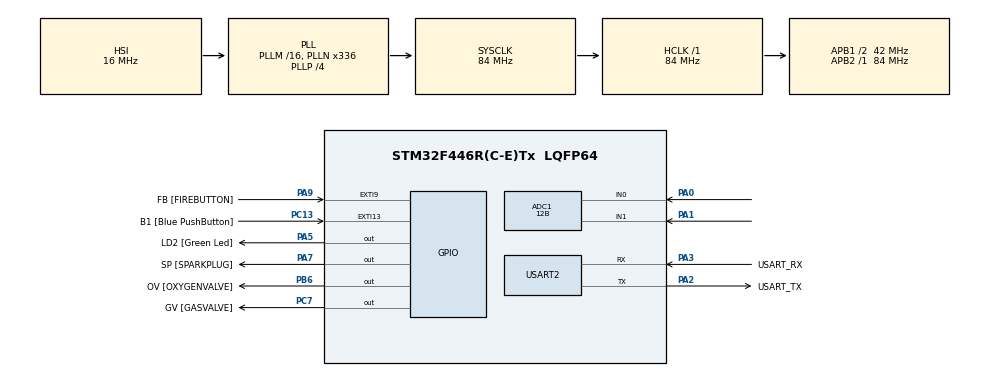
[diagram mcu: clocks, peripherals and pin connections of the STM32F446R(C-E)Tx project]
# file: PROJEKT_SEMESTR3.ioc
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ADC1.Channel-0\#ChannelRegularConversion=ADC_CHANNEL_0
ADC1.Channel-1\#ChannelRegularConversion=ADC_CHANNEL_1
ADC1.ClockPrescaler=ADC_CLOCK_SYNC_PCLK_DIV8
ADC1.ContinuousConvMode=ENABLE
ADC1.DMAContinuousRequests=ENABLE
ADC1.NbrOfConversion=2
ADC1.NbrOfConversionFlag=1
ADC1.Rank-0\#ChannelRegularConversion=1
ADC1.Rank-1\#ChannelRegularConversion=2
ADC1.Resolution=ADC_RESOLUTION_12B
ADC1.SamplingTime-0\#ChannelRegularConversion=ADC_SAMPLETIME_480CYCLES
ADC1.SamplingTime-1\#ChannelRegularConversion=ADC_SAMPLETIME_480CYCLES
ADC1.ScanConvMode=ENABLE
ADC1.master=1
Dma.ADC1.0.Direction=DMA_PERIPH_TO_MEMORY
Dma.ADC1.0.FIFOMode=DMA_FIFOMODE_DISABLE
Dma.ADC1.0.Instance=DMA2_Stream0
Dma.ADC1.0.MemDataAlignment=DMA_MDATAALIGN_HALFWORD
Dma.ADC1.0.MemInc=DMA_MINC_ENABLE
Dma.ADC1.0.Mode=DMA_CIRCULAR
Dma.ADC1.0.PeriphDataAlignment=DMA_PDATAALIGN_HALFWORD
Dma.ADC1.0.PeriphInc=DMA_PINC_DISABLE
Dma.ADC1.0.Priority=DMA_PRIORITY_LOW
Dma.Request0=ADC1
Mcu.Family=STM32F4
Mcu.Name=STM32F446R(C-E)Tx
Mcu.Package=LQFP64
NVIC.ADC_IRQn=true\:0\:1\:false\:false\:true\:true\:true\:true
NVIC.DMA2_Stream0_IRQn=true\:0\:1\:false\:false\:true\:false\:true\:true
NVIC.EXTI15_10_IRQn=true\:0\:1\:false\:false\:true\:true\:true\:true
NVIC.EXTI9_5_IRQn=true\:0\:1\:false\:false\:true\:true\:true\:true
NVIC.PriorityGroup=NVIC_PRIORITYGROUP_0
NVIC.USART2_IRQn=true\:0\:1\:false\:false\:true\:true\:true\:true
PA0-WKUP.Signal=ADCx_IN0
PA1.Signal=ADCx_IN1
PA13.GPIO_Label=TMS
PA13.Mode=Serial_Wire
PA13.Signal=SYS_JTMS-SWDIO
PA14.GPIO_Label=TCK
PA14.Mode=Serial_Wire
PA14.Signal=SYS_JTCK-SWCLK
PA2.GPIO_Label=USART_TX
PA2.Mode=Asynchronous
PA2.Signal=USART2_TX
PA3.GPIO_Label=USART_RX
PA3.Mode=Asynchronous
PA3.Signal=USART2_RX
PA5.GPIO_Label=LD2 [Green Led]
PA5.Signal=GPIO_Output
PA7.GPIO_Label=SP [SPARKPLUG]
PA7.Signal=GPIO_Output
PA9.GPIO_Label=FB [FIREBUTTON]
PA9.GPIO_ModeDefaultEXTI=GPIO_MODE_IT_RISING
PA9.GPIO_PuPd=GPIO_PULLDOWN
PA9.Signal=GPXTI9
PB3.GPIO_Label=SWO
PB3.Signal=SYS_JTDO-SWO
PB6.GPIO_Label=OV [OXYGENVALVE]
PB6.Signal=GPIO_Output
PC13.GPIO_Label=B1 [Blue PushButton]
PC13.GPIO_ModeDefaultEXTI=GPIO_MODE_IT_FALLING
PC13.Signal=GPXTI13
PC14-OSC32_IN.Mode=LSE-External-Oscillator
PC14-OSC32_IN.Signal=RCC_OSC32_IN
PC15-OSC32_OUT.Mode=LSE-External-Oscillator
PC15-OSC32_OUT.Signal=RCC_OSC32_OUT
PC7.GPIO_Label=GV [GASVALVE]
PC7.Signal=GPIO_Output
PH0-OSC_IN.Mode=HSE-External-Oscillator
PH0-OSC_IN.Signal=RCC_OSC_IN
PH1-OSC_OUT.Mode=HSE-External-Oscillator
PH1-OSC_OUT.Signal=RCC_OSC_OUT
ProjectManager.HeapSize=0x200
ProjectManager.StackSize=0x400
ProjectManager.TargetToolchain=STM32CubeIDE
RCC.48MHZClocksFreq_Value=84000000
RCC.AHBFreq_Value=84000000
RCC.APB1CLKDivider=RCC_HCLK_DIV2
RCC.APB1Freq_Value=42000000
RCC.APB1TimFreq_Value=84000000
RCC.APB2Freq_Value=84000000
RCC.APB2TimFreq_Value=84000000
RCC.CortexFreq_Value=84000000
RCC.FLatency-AdvancedSettings=FLASH_LATENCY_2
RCC.HCLKFreq_Value=84000000
RCC.HSE_VALUE=8000000
RCC.HSI_VALUE=16000000
RCC.PLLN=336
RCC.PLLP=RCC_PLLP_DIV4
RCC.SYSCLKFreq_VALUE=84000000
RCC.SYSCLKSource=RCC_SYSCLKSOURCE_PLLCLK
RCC.USBFreq_Value=168000000
RCC.VCOOutputFreq_Value=336000000
SH.ADCx_IN0.0=ADC1_IN0,IN0
SH.ADCx_IN1.0=ADC1_IN1,IN1
USART2.VirtualMode=VM_ASYNC
board=NUCLEO-F446RE

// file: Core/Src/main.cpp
/* USER CODE BEGIN Header */
/**
  ******************************************************************************
  * @file           : main.c
  * @brief          : Main program body
  ******************************************************************************
  * @attention
  *
  * Copyright (c) 2024 STMicroelectronics.
  * All rights reserved.
  *
  * This software is licensed under terms that can be found in the LICENSE file
  * in the root directory of this software component.
  * If no LICENSE file comes with this software, it is provided AS-IS.
  *
  ******************************************************************************
  */
/* USER CODE END Header */
#include "main.h"

ADC_HandleTypeDef hadc1;
DMA_HandleTypeDef hdma_adc1;

UART_HandleTypeDef huart2;

void SystemClock_Config(void);
static void MX_GPIO_Init(void);
static void MX_DMA_Init(void);
static void MX_USART2_UART_Init(void);
static void MX_ADC1_Init(void);
/* USER CODE BEGIN PFP */
float channel1avg();
float channel1mean();
float channel2avg();
float channel2mean();
/* USER CODE END PFP */

/* USER CODE BEGIN 0 */
//TODO:początek kodu
//rozmiar bufora ADC
#define ADC_DMABUFFERSIZE 512
//definicje wartości zmiennych systemu gazowego
#define DELTIME 100
#define MULTIPL 5
#define BEWTIME 80
#define GVOTIME 50
#define SPTTIME 50
#include <string>
#include <algorithm>
enum Written {
  None,
  Char
};
uint16_t endcharcounter=0;
template <std::size_t maxSize>
class CircularBuffer {
  uint8_t buffer[maxSize];
  std::size_t head = 0;
  std::size_t tail = 0;
  Written writeFlag = None;
public:
  bool has(uint8_t item) {
    for (std::size_t i = 0; i < size(); ++i) {
      std::size_t inx = (head + i) % maxSize;
      if (buffer[inx] == item) return true;
    }
    return false;
  }
  bool written() {
    return writeFlag;
  }
  std::string read() {
	std::string a;
    switch (writeFlag) {
      case None:
        break;
      case Char:
        a.push_back(buffer[(tail - 1) % maxSize]);
        break;
    }
    writeFlag = None;
    return a;
  }
  void push(uint8_t item) {
    if (tail == (head - 1) % maxSize) return;
    buffer[tail] = item;
    //if(item=='|')endcharcounter++;
    volatile std::size_t temp = (tail + 1) % maxSize;
    tail = temp;
    writeFlag = Char;
  }
  void push(std::string a) {
    for (uint8_t c : a) {
      push(c);
    }
  }
  uint8_t pop() {
	if (empty()) return 0;
    uint8_t item = buffer[head];
    buffer[head] = 0;
    volatile std::size_t temp = (head + 1) % maxSize;
    head = temp;
    return item;
  }
  std::string popUntilExcl(uint8_t guard) {
      std::string ret;
      while (!empty()) {
        uint8_t a = pop();
        ret.push_back(a);
        if (a == guard) {
      	  break;}
      }
      return ret;
    }
  std::string popUntilIncl(uint8_t guard) {
    std::string ret;
    while (!empty()) {
      uint8_t a = pop();
      ret.push_back(a);
      if (a == guard) {
    	  ret.push_back(a);
    	  break;}
    }
    return ret;
  }
  bool empty() {
    return head == tail;
  }
  std::size_t size() {
    if (tail >= head) return tail - head;
    return maxSize - head - tail;
  }
  uint32_t capacity(void) {
      return maxSize;
    }
};
uint8_t itemRx;
CircularBuffer<4096> rx;
uint8_t itemTx;
CircularBuffer<4096> tx;
void USART_send(std::string a) {
  //tx.push(a);
	if(tx.size()+a.length()>tx.capacity())return;
  for(uint8_t charr:a)tx.push(charr);//dodaj do bufora znaki ze stringa
  __disable_irq();//zatrzymaj przerwania w celu nieprzerwanej transmisji
  if (__HAL_UART_GET_FLAG(&huart2, UART_FLAG_TXE) != RESET) {//sprawdzanie czy linia jest obecnie wykorzystywana
    itemTx= tx.pop();//zczytaj znak na końcu
    HAL_UART_Transmit_IT(&huart2, &itemTx, 1);//prześlij pierwszy znak z
  }
  __enable_irq();//wznów przerwania
}
void HAL_UART_TxCpltCallback(UART_HandleTypeDef *huart) {
	if (!(huart == &huart2)) return;//jeżeli odpowiedni interfejs
	if (tx.empty()) return;//jeżeli nie koniec buforu
	itemTx = tx.pop();//zczytaj znak na końcu
	HAL_UART_Transmit_IT(&huart2, &itemTx, 1);//prześlij

}
void HAL_UART_RxCpltCallback(UART_HandleTypeDef *huart) {
	if (!(huart == &huart2)) return;
	rx.push(itemRx);
	//if(itemRx=='|')endcharcounter++;
	HAL_UART_Receive_IT(&huart2, &itemRx, 1);
}

//----------------------------//
//POWYŻEJ UART, PONIŻEJ RAMKA
//----------------------------//todo:
void replaceAll(std::string& str, const std::string& from, const std::string& to) {
    size_t start_pos = 0;
    while ((start_pos = str.find(from, start_pos)) != std::string::npos) {
        str.replace(start_pos, from.length(), to);
        start_pos += to.length();
    }
}
void trimStartEndCharacters(std::string& str, char startChar, char endChar) {

    // przycinanie do pierwszej instancji znaku
    size_t startPos = str.find_first_not_of(startChar);
    if (startPos != std::string::npos) {
        str.erase(0, startPos-1);
    }

    // ucinanie do jakiegoś znaku
    size_t endPos = str.find_last_not_of(endChar);
    if (endPos != std::string::npos) {
        str.erase(endPos + 2);
    }
}

uint16_t calculateCRC16(const std::string& data) {
    const uint16_t polynomial = 0x8005; //  wielomian
    uint16_t crc = 0xFFFF; // wstepna wartość dla crc

    for (char c : data) {//dla każdego znaku w stringu
        crc ^= static_cast<uint16_t>(c) << 8;//XOR obecnego CRC z przesuniętym w lewo o 8 bit obecnym znakiem

        for (int i = 0; i < 8; ++i) {//dla nowego bitu w nowym bajcie po kolei:
            if (crc & 0x8000) {//jeżeli najważniejszy bit po lewej stronie
                crc = (crc << 1) ^ polynomial;//leftshift o 1 i xor z wielomianem
            } else {//jeżeli najważniejszy bit to 0
                crc <<= 1;//bitshift w lewo o 1
            }
        }
    }
    //USART_send("DEBUG:Calculated checksum: "+std::to_string(crc)+"\r\n");

    return crc;
}
std::string reconstructdata(std::string data){
	std::string unescapedData;
	//przejście przez dane przekazane
	  for (size_t i = 0; i < data.length(); ++i) {
	        // sprawdzanie czy jest znak escape
	        if (data[i] == '\\' && i + 1 < data.length()) {
	            // zamiana w wyniku escape
	            switch (data[i + 1]) {
	                case ':':
	                    unescapedData.push_back('^');
	                    break;
	                case ';':
	                    unescapedData.push_back('|');
	                    break;
	                case '@':
	                    unescapedData.push_back('\\');
	                    break;
	                default:
	                    // Handle other cases as needed
	                    break;
	            }
	            // Skip the next character as it was part of the escape sequence
	            ++i;
	        } else {
	            // Regular character, add to the unescaped data
	            unescapedData.push_back(data[i]);
	        }
	    }
	  	  //zwrócenie buforu string tymczasowego
	    return unescapedData;
}
std::string escapeCharacters(const std::string& data) {
    std::string escapedData = data;//zamiana znaków
    replaceAll(escapedData, "\\", "\\@");
    replaceAll(escapedData, "|", "\\;");
    replaceAll(escapedData, "^", "\\:");
    return escapedData;
}
//generowanie ramki odpowiedzi
void respondframe(std::string response){
	std::string escapedresponse=escapeCharacters(response);//zamiana znaków
	char rspchksmbuf[5],rpslenbuf[3];//temp tablice znaków
	uint8_t resplen=static_cast<uint8_t>(escapedresponse.length()-1);//obliczanie długości
	std::snprintf(rpslenbuf,3,"%02d",resplen);//formatowanie długości
	uint16_t respchecksum=calculateCRC16("n"+escapedresponse);//checksuma
	std::snprintf(rspchksmbuf,5,"%04X",respchecksum);//formatowanie checksumy
	std::string outputresponse="^"+(std::string)rpslenbuf+"n"+escapedresponse+(std::string)rspchksmbuf+"|\r\n";//składanie całości
	USART_send(outputresponse);
}
//ZMIENNE CZASOWE SYSTEMU GAZOWO-STRZELAJĄCEGO ORAZ RESET
int shotdelay=DELTIME, timebetween=BEWTIME,valvetime=GVOTIME,sparktime=SPTTIME;
float timemul=MULTIPL,realshotdelay=DELTIME*timemul;
void resettimevals(){
	shotdelay=DELTIME;
	timebetween=BEWTIME;
	valvetime=GVOTIME;
	sparktime=SPTTIME;
	timemul=MULTIPL;
	realshotdelay=DELTIME*MULTIPL;
}
//zmienne średnich i median ADC DMA
float c1avg,c2avg,c1med,c2med;
uint8_t FBpressed=0,LOCKpressed=0;
uint16_t ButtonPresses=0;
void processcmd(char cmd,const std::string& data){
	std::string respstr="0.00000";
	char str1[20]={0},str2[20]={0};

	switch(cmd){
	case 'n':
		//noop do fucking nothing
	break;

	case 'e':
		//echo
		respondframe("ECH:"+data);
	break;

	case 'd':
		//delay
		shotdelay=stof(data);
		respondframe("DEL:"+std::to_string(shotdelay));
		break;

	case 'm':
		//timemul
		timemul=stof(data);
		respondframe("MUL:"+std::to_string(timebetween));
	break;

	case 'b':
		//timebetween
		timebetween=stoi(data);
		respondframe("BEW:"+std::to_string(timebetween));
	break;

	case 'v':
		//valvetime
		valvetime=stoi(data);
		respondframe("GVO:"+std::to_string(valvetime));
	break;

	case 's':
		//sparktime
		sparktime=stoi(data);
		respondframe("SPT:"+std::to_string(sparktime));
	break;

	case 'r':
		resettimevals();
		respondframe("RESET");
		//reset
	break;
	case 'c':

		//custom - output string is respstr
		respstr="DEBUG:CUSTOM STATEMENTS UNDEFINED YET\r\n";
		//respondframe("CST:"+respstr);
		USART_send(respstr);
		respondframe("CMDERR");
		//TODO:ADD COMMANDS
	break;
	case 'a':
		//DMAbufferavearage
		snprintf(str1,10,"%f",c1avg);
		snprintf(str2,10,"%f",c2avg);
		respondframe("AVG:"+(std::string)str1+":"+(std::string)str2);

	break;
	case 'i':
		//DMAbuffermean
		snprintf(str1,10,"%f",c1med);
		snprintf(str2,10,"%f",c2med);
		respondframe("MED:"+(std::string)str1+":"+(std::string)str2);

	break;
	case 'p':
		//Button Press counter
		respondframe("PSS:"+std::to_string(ButtonPresses));
		break;
	case 'f':
		FBpressed=1;
		respondframe("FIRE!");
		break;
	default:
		respondframe("CMDERR");

	}
}

//dekonstrukcja oraz analiza ramki
bool decodePAWNET(const std::string& message) {
	//USART_send("\r\nSTARTING DECODING: "+message+" \r\n");
    //zmienna,znajdywanie końca bo długość to długość danych po rozkodowaniu
    uint8_t endidx=message.find('|');
    if(endidx<=8){return false;}

    //todo zamienić
    std::string fixedData;
    USART_send("\r\n");
    //dlugosc
    std::string lengthStr = message.substr(1, 2);
    for (char ch:lengthStr){//sprawdzanie czy aby na pewno pierwsze 2 znaki po start to cyfry dziesiętne
    			if (!(ch >= '0' && ch <= '9')) {
    	            respondframe("LENERR");
    	            return false;
    	        }
    }
    size_t length = std::stoi(lengthStr)+1;//długość

    //komenda i dane
    char command = message[3];
    std::string data=message.substr(4,endidx-8);

    //rekonstrukcja danych z escapeowania
    fixedData=reconstructdata(data);

    //porównywanie długości danych zrekonstruowanych z długością w ramce
    if(length!=fixedData.length()){
    	respondframe("LENERR");
    	//USART_send("\r\nLENERR\r\n DEBUGGIVEN "+std::to_string(length)+" != GATHERED "+std::to_string(fixedData.length())+"\r\n");
    	return false;
    }
    //checksuma
    std::string checksumString="0x"+message.substr(endidx-4,4);//0x dodane aby stoi z automatu konwertował na hex
    uint16_t packetchecksum=static_cast<uint16_t>(std::stoi(checksumString, 0, 0));
    //USART_send("DEBUG:ChecksumGathered: "+std::to_string(packetchecksum)+"\r\n");

    //sprawdzanie poprawnosci checksumy
      if(calculateCRC16(command+fixedData)==packetchecksum){
    	//sprawdzanie komendy i danych po potwierdzeniu zgodności
    	processcmd(command, fixedData);
    	return true;
    }else{//błąd w obliczeniach checksumy
    	respondframe("CVCERR");
    	return false;
    }
}
//--------//
//Powyżej ramka, poniżej DMA//TODO:
//--------//
uint16_t POTBufferMin=4096,POTBufferMax=0;
float POTBufNormAvg;
uint16_t chn1=0,chn2=0,ADC_DMA_Buffer[ADC_DMABUFFERSIZE*2]={0};
bool convcompl=false;
bool halfcomplete=false;
void ADC_DMA_updateAverages() {
	uint16_t valid_entries=0;
	float tmpc1avg,tmpc2avg;
    for (int i = 0; i < ADC_DMABUFFERSIZE-1 * 2; i += 2) {
    	if (ADC_DMA_Buffer[i] == 0 || ADC_DMA_Buffer[i + 1] == 0) {
            break;//zakończ jeżeli którykolwiek z kanałów ma 0
        }

        tmpc1avg += ADC_DMA_Buffer[i]; //dodawanie do średniej.
        tmpc2avg += ADC_DMA_Buffer[i + 1];
        valid_entries++;

    }

    // nie dziel przez zero lol
    if (valid_entries > 0) {
        tmpc1avg /= valid_entries;
        tmpc2avg /= valid_entries;
        c1avg=tmpc1avg;
        c2avg=tmpc2avg;
    }
}
int compareUint16(const void* a, const void* b) {
    return (*(uint16_t*)a - *(uint16_t*)b);
}
int extractAndSortChannel(uint16_t* channel_buffer, int channel_index) {
    int extracted_entries = 0;//zapamiętaj ile jest prawidłowych wartości
    for (int i = 0; i < ADC_DMABUFFERSIZE; ++i) {
        channel_buffer[i] = ADC_DMA_Buffer[i * 2 + channel_index];
        if (channel_buffer[i] != 0) {
            extracted_entries++;//zlicz ilość prawidłowych nie zerowych wpisów
        }
    }
    // sortowanie
    qsort(channel_buffer, extracted_entries, sizeof(uint16_t), compareUint16);
    return extracted_entries;
}

int calculateMean(uint16_t* sorted_buffer, int entries) {
    if (entries == 0) {
        return 0;  // Avoid division by zero
    }
    return (sorted_buffer[entries / 2 - 1] + sorted_buffer[entries / 2]) / 2;
}
void ADC_DMA_updateMeans() {
		uint16_t channel1_buffer[ADC_DMABUFFERSIZE];
	    uint16_t channel2_buffer[ADC_DMABUFFERSIZE];

	    int entries_channel1 = extractAndSortChannel(channel1_buffer, 0);
	    int entries_channel2 = extractAndSortChannel(channel2_buffer, 1);

	    // Calculate mean for each channel using the middle values
	    c1med = calculateMean(channel1_buffer, entries_channel1);
	    c2med = calculateMean(channel2_buffer, entries_channel2);
}
void normaliseADCOut(){
	POTBufNormAvg=(c1avg-POTBufferMin)/(POTBufferMax-POTBufferMin);
}
bool ReadyToUpdateAvg=false;
void ADC_DMA_UPDATE(){
	ADC_DMA_updateAverages();
	if(convcompl){
		if(c1avg<POTBufferMin)POTBufferMin=c1avg;
		if(c1avg>POTBufferMax)POTBufferMax=c1avg;
		//if(POTBufferMax>4100)POTBufferMax=c1avg;
		normaliseADCOut();
		ADC_DMA_updateMeans();
	}
	ReadyToUpdateAvg=false;
}

void HAL_ADC_ConvCpltCallback(ADC_HandleTypeDef* hadc){
	ReadyToUpdateAvg=true;

	convcompl=true;//doszło do konwersji na całej długości bufora
}
void HAL_ADC_ConvHalfCpltCallback(ADC_HandleTypeDef* hadc){
	ReadyToUpdateAvg=true;
	halfcomplete=true;
	//if(!convcompl)POTBufferMin=ADC_DMA_Buffer[0];//inicjalizacja min max
	//if(!convcompl)POTBufferMax=ADC_DMA_Buffer[0];
}
//TODO:Powyżej DMA ADC, Poniżej GPIO EXTI
void hardcloseallvalves(){
	HAL_GPIO_WritePin(GV_GPIO_Port, GV_Pin, GPIO_PIN_RESET);
	HAL_GPIO_WritePin(OV_GPIO_Port, OV_Pin, GPIO_PIN_RESET);
	HAL_GPIO_WritePin(SP_GPIO_Port, SP_Pin, GPIO_PIN_RESET);
}
enum firingstateenum{GasValvesOpen,WaitForGasMix,SparkPlugIgnite,FiringDelay};
firingstateenum firingstate=GasValvesOpen;
float firingcounter=1;
void HAL_GPIO_EXTI_Callback(uint16_t GPIO_Pin)
{
	ButtonPresses++;//zlicz nacisniecia
	switch(GPIO_Pin){//co wykonalo przerwanie
	case FB_Pin://przerwanie wykonane przez przycisk fire
		if(HAL_GPIO_ReadPin(FB_GPIO_Port, FB_Pin)==GPIO_PIN_SET){
			//wykryto fire
			FBpressed=1;
			firingcounter=1;
			HAL_NVIC_DisableIRQ(EXTI9_5_IRQn);
		}
		break;
	case B1_Pin://przerwanie wykonane przez przycisk lock
		if(HAL_GPIO_ReadPin(B1_GPIO_Port, B1_Pin)==GPIO_PIN_SET){
				hardcloseallvalves();//zamknij wszystko
				LOCKpressed++;//nacisnięto lock
				FBpressed=0;//reset FBpressed;
				firingstate=GasValvesOpen;//reset FS
				firingcounter=1;//reset FC
				HAL_NVIC_EnableIRQ(EXTI9_5_IRQn);//ponowne odpalenie przerwań
				}
		break;
	}
}
float interval=GVOTIME;
//todo: Powyżej GPIO EXTI, Poniżej kod programu
void switchfiringstate(){
	switch(firingstate){
			case GasValvesOpen://otwarte zawory gazu
				HAL_GPIO_WritePin(GV_GPIO_Port, GV_Pin, GPIO_PIN_SET);
				HAL_GPIO_WritePin(OV_GPIO_Port, OV_Pin, GPIO_PIN_SET);
				interval=valvetime;
				firingstate=WaitForGasMix;
				break;
			case WaitForGasMix://zamkniete zawory, czekanie na mieszanke
				HAL_GPIO_WritePin(GV_GPIO_Port, GV_Pin, GPIO_PIN_RESET);
				HAL_GPIO_WritePin(OV_GPIO_Port, OV_Pin, GPIO_PIN_RESET);
				interval=timebetween;
				firingstate=SparkPlugIgnite;
				break;
			case SparkPlugIgnite://swieca w ruch, wyliczamy delay
				HAL_GPIO_WritePin(SP_GPIO_Port, SP_Pin, GPIO_PIN_SET);
				interval=sparktime;
				firingstate=FiringDelay;
				break;
			case FiringDelay://wszystko zamkniete, oczekujemy do nastepnego strzalu
				HAL_GPIO_WritePin(SP_GPIO_Port, SP_Pin, GPIO_PIN_RESET);
				normaliseADCOut();
				realshotdelay=shotdelay*timemul*POTBufNormAvg;
				//powyżej zaktualizowanie i obliczenie czasu między strzałami
				realshotdelay<5?interval=2.0:interval=realshotdelay;
				if(HAL_GPIO_ReadPin(FB_GPIO_Port, FB_Pin)!=GPIO_PIN_SET){
					FBpressed=0;
					HAL_NVIC_EnableIRQ(EXTI9_5_IRQn);
				}
				firingstate=GasValvesOpen;
				break;
			default:
				//jakim cudem tu jesteś powiedz ty to mi
				hardcloseallvalves();
				interval=1000;
				break;
			}
}
void firingswitch(){
	if(FBpressed){
		if(firingcounter<=0){
			switchfiringstate();
			firingcounter=interval;
		}else{
			firingcounter--;
		}
	}
}
//todo: koniec kodu strzelania, poniżej main i główna pętla
	enum FrameReceiveState{noInput,startReceived,processing,frameReady};
	std::string frameMainBuffer="";
	char readchar=0;
	FrameReceiveState FrameState=noInput;
/* USER CODE END 0 */

int main(void)
{

  /* MCU Configuration--------------------------------------------------------*/

  /* Reset of all peripherals, Initializes the Flash interface and the Systick. */
  HAL_Init();

  /* Configure the system clock */
  SystemClock_Config();

  /* Initialize all configured peripherals */
  MX_GPIO_Init();
  MX_DMA_Init();
  MX_USART2_UART_Init();
  MX_ADC1_Init();
  /* USER CODE BEGIN 2 */
  hardcloseallvalves();
  HAL_ADC_Start_DMA(&hadc1,(uint32_t *) ADC_DMA_Buffer, ADC_DMABUFFERSIZE*2);
  HAL_UART_Receive_IT(&huart2, &itemRx, 1);
  USART_send("\r\n----------------------\r\n  STM32 Gas Gun INIT\r\n----------------------\r\n");
  /* USER CODE END 2 */

  /* Infinite loop */
  /* USER CODE BEGIN WHILE */
  //todo: main
  while (1)
  {
	  if (rx.written()&&__HAL_UART_GET_FLAG(&huart2, UART_FLAG_TXE) != RESET) {
	  	  USART_send(rx.read());//wypisywanie do konsoli
	  	}

	  if(ReadyToUpdateAvg){
		  ADC_DMA_UPDATE();
	  }

	  if(!rx.empty()){//jeżeli coś jest w buforze nie przeanalizowane
	  readchar=rx.pop();
	  if(readchar=='^'){//jeżeli znak start
	  		  frameMainBuffer.clear();//czyść bufor
	  		  FrameState=startReceived;
	  		  frameMainBuffer.push_back(readchar);//dodaj znak
	  	  }
	  	  if(FrameState==startReceived){//jeżeli doszedł znak początku
	  		  if(readchar!='|'){//dopóki nie ma znaku końca dodawaj znaki normalnie
	  			  frameMainBuffer.push_back(readchar);
	  		  }else{
	  			  frameMainBuffer.push_back(readchar);
	  			  FrameState=frameReady;//ustaw flagę końca.
	  		  }
	  		if(frameMainBuffer.length()>210){
	  				  //Jeżeli w buforze znajdzie się za dużo danych to czyścimy i
	  				  frameMainBuffer.clear();
	  				  FrameState=noInput;
	  				  respondframe("LENERR");
	  			  }
	  	  }
	  }

	  if(FrameState==frameReady)
	   {
	        //przycinanie ramki
		      //trimStartEndCharacters(frameMainBuffer, '^', '|');
	        //rozkoduj ramkę
		  	  if(decodePAWNET(frameMainBuffer)){
	        	//na wypadek poprawnego rozkodowania
	        }else{
	        	//jeżeli gdziekolwiek podczas rozkodowania wystąpi błąd
	        }
	        FrameState=noInput;
	  }

  }
    /* USER CODE END WHILE */

}

void SystemClock_Config(void)
{
  RCC_OscInitTypeDef RCC_OscInitStruct = {0};
  RCC_ClkInitTypeDef RCC_ClkInitStruct = {0};

  /** Configure the main internal regulator output voltage
  */
  __HAL_RCC_PWR_CLK_ENABLE();
  __HAL_PWR_VOLTAGESCALING_CONFIG(PWR_REGULATOR_VOLTAGE_SCALE3);

  /** Initializes the RCC Oscillators according to the specified parameters
  * in the RCC_OscInitTypeDef structure.
  */
  RCC_OscInitStruct.OscillatorType = RCC_OSCILLATORTYPE_HSI;
  RCC_OscInitStruct.HSIState = RCC_HSI_ON;
  RCC_OscInitStruct.HSICalibrationValue = RCC_HSICALIBRATION_DEFAULT;
  RCC_OscInitStruct.PLL.PLLState = RCC_PLL_ON;
  RCC_OscInitStruct.PLL.PLLSource = RCC_PLLSOURCE_HSI;
  RCC_OscInitStruct.PLL.PLLM = 16;
  RCC_OscInitStruct.PLL.PLLN = 336;
  RCC_OscInitStruct.PLL.PLLP = RCC_PLLP_DIV4;
  RCC_OscInitStruct.PLL.PLLQ = 2;
  RCC_OscInitStruct.PLL.PLLR = 2;
  if (HAL_RCC_OscConfig(&RCC_OscInitStruct) != HAL_OK)
  {
    Error_Handler();
  }

  /** Initializes the CPU, AHB and APB buses clocks
  */
  RCC_ClkInitStruct.ClockType = RCC_CLOCKTYPE_HCLK|RCC_CLOCKTYPE_SYSCLK
                              |RCC_CLOCKTYPE_PCLK1|RCC_CLOCKTYPE_PCLK2;
  RCC_ClkInitStruct.SYSCLKSource = RCC_SYSCLKSOURCE_PLLCLK;
  RCC_ClkInitStruct.AHBCLKDivider = RCC_SYSCLK_DIV1;
  RCC_ClkInitStruct.APB1CLKDivider = RCC_HCLK_DIV2;
  RCC_ClkInitStruct.APB2CLKDivider = RCC_HCLK_DIV1;

  if (HAL_RCC_ClockConfig(&RCC_ClkInitStruct, FLASH_LATENCY_2) != HAL_OK)
  {
    Error_Handler();
  }
}

static void MX_ADC1_Init(void)
{

  ADC_ChannelConfTypeDef sConfig = {0};

  /** Configure the global features of the ADC (Clock, Resolution, Data Alignment and number of conversion)
  */
  hadc1.Instance = ADC1;
  hadc1.Init.ClockPrescaler = ADC_CLOCK_SYNC_PCLK_DIV8;
  hadc1.Init.Resolution = ADC_RESOLUTION_12B;
  hadc1.Init.ScanConvMode = ENABLE;
  hadc1.Init.ContinuousConvMode = ENABLE;
  hadc1.Init.DiscontinuousConvMode = DISABLE;
  hadc1.Init.ExternalTrigConvEdge = ADC_EXTERNALTRIGCONVEDGE_NONE;
  hadc1.Init.ExternalTrigConv = ADC_SOFTWARE_START;
  hadc1.Init.DataAlign = ADC_DATAALIGN_RIGHT;
  hadc1.Init.NbrOfConversion = 2;
  hadc1.Init.DMAContinuousRequests = ENABLE;
  hadc1.Init.EOCSelection = ADC_EOC_SINGLE_CONV;
  if (HAL_ADC_Init(&hadc1) != HAL_OK)
  {
    Error_Handler();
  }

  /** Configure for the selected ADC regular channel its corresponding rank in the sequencer and its sample time.
  */
  sConfig.Channel = ADC_CHANNEL_0;
  sConfig.Rank = 1;
  sConfig.SamplingTime = ADC_SAMPLETIME_480CYCLES;
  if (HAL_ADC_ConfigChannel(&hadc1, &sConfig) != HAL_OK)
  {
    Error_Handler();
  }

  /** Configure for the selected ADC regular channel its corresponding rank in the sequencer and its sample time.
  */
  sConfig.Channel = ADC_CHANNEL_1;
  sConfig.Rank = 2;
  if (HAL_ADC_ConfigChannel(&hadc1, &sConfig) != HAL_OK)
  {
    Error_Handler();
  }

}

static void MX_USART2_UART_Init(void)
{

  huart2.Instance = USART2;
  huart2.Init.BaudRate = 115200;
  huart2.Init.WordLength = UART_WORDLENGTH_8B;
  huart2.Init.StopBits = UART_STOPBITS_1;
  huart2.Init.Parity = UART_PARITY_NONE;
  huart2.Init.Mode = UART_MODE_TX_RX;
  huart2.Init.HwFlowCtl = UART_HWCONTROL_NONE;
  huart2.Init.OverSampling = UART_OVERSAMPLING_16;
  if (HAL_UART_Init(&huart2) != HAL_OK)
  {
    Error_Handler();
  }

}

static void MX_DMA_Init(void)
{

  /* DMA controller clock enable */
  __HAL_RCC_DMA2_CLK_ENABLE();

  /* DMA interrupt init */
  /* DMA2_Stream0_IRQn interrupt configuration */
  HAL_NVIC_SetPriority(DMA2_Stream0_IRQn, 0, 1);
  HAL_NVIC_EnableIRQ(DMA2_Stream0_IRQn);

}

static void MX_GPIO_Init(void)
{
  GPIO_InitTypeDef GPIO_InitStruct = {0};

  /* GPIO Ports Clock Enable */
  __HAL_RCC_GPIOC_CLK_ENABLE();
  __HAL_RCC_GPIOH_CLK_ENABLE();
  __HAL_RCC_GPIOA_CLK_ENABLE();
  __HAL_RCC_GPIOB_CLK_ENABLE();

  /*Configure GPIO pin Output Level */
  HAL_GPIO_WritePin(GPIOA, LD2_Pin|SP_Pin, GPIO_PIN_RESET);

  /*Configure GPIO pin Output Level */
  HAL_GPIO_WritePin(GV_GPIO_Port, GV_Pin, GPIO_PIN_RESET);

  /*Configure GPIO pin Output Level */
  HAL_GPIO_WritePin(OV_GPIO_Port, OV_Pin, GPIO_PIN_RESET);

  /*Configure GPIO pin : B1_Pin */
  GPIO_InitStruct.Pin = B1_Pin;
  GPIO_InitStruct.Mode = GPIO_MODE_IT_FALLING;
  GPIO_InitStruct.Pull = GPIO_NOPULL;
  HAL_GPIO_Init(B1_GPIO_Port, &GPIO_InitStruct);

  /*Configure GPIO pins : LD2_Pin SP_Pin */
  GPIO_InitStruct.Pin = LD2_Pin|SP_Pin;
  GPIO_InitStruct.Mode = GPIO_MODE_OUTPUT_PP;
  GPIO_InitStruct.Pull = GPIO_NOPULL;
  GPIO_InitStruct.Speed = GPIO_SPEED_FREQ_LOW;
  HAL_GPIO_Init(GPIOA, &GPIO_InitStruct);

  /*Configure GPIO pin : GV_Pin */
  GPIO_InitStruct.Pin = GV_Pin;
  GPIO_InitStruct.Mode = GPIO_MODE_OUTPUT_PP;
  GPIO_InitStruct.Pull = GPIO_NOPULL;
  GPIO_InitStruct.Speed = GPIO_SPEED_FREQ_LOW;
  HAL_GPIO_Init(GV_GPIO_Port, &GPIO_InitStruct);

  /*Configure GPIO pin : FB_Pin */
  GPIO_InitStruct.Pin = FB_Pin;
  GPIO_InitStruct.Mode = GPIO_MODE_IT_RISING;
  GPIO_InitStruct.Pull = GPIO_PULLDOWN;
  HAL_GPIO_Init(FB_GPIO_Port, &GPIO_InitStruct);

  /*Configure GPIO pin : OV_Pin */
  GPIO_InitStruct.Pin = OV_Pin;
  GPIO_InitStruct.Mode = GPIO_MODE_OUTPUT_PP;
  GPIO_InitStruct.Pull = GPIO_NOPULL;
  GPIO_InitStruct.Speed = GPIO_SPEED_FREQ_LOW;
  HAL_GPIO_Init(OV_GPIO_Port, &GPIO_InitStruct);

  /* EXTI interrupt init*/
  HAL_NVIC_SetPriority(EXTI9_5_IRQn, 0, 1);
  HAL_NVIC_EnableIRQ(EXTI9_5_IRQn);

  HAL_NVIC_SetPriority(EXTI15_10_IRQn, 0, 1);
  HAL_NVIC_EnableIRQ(EXTI15_10_IRQn);

}

void Error_Handler(void)
{
  __disable_irq();
  while (1)
  {
  }
}
